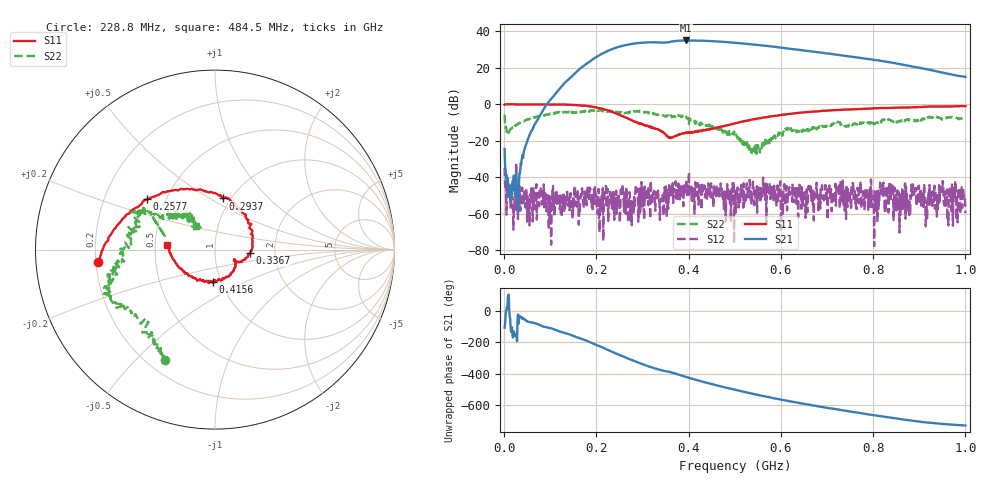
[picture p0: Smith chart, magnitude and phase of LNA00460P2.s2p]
! Created with skrf 1.9.0 (http://scikit-rf.org).
# Hz S RI R 50.0
!freq ReS11 ImS11 ReS21 ImS21 ReS12 ImS12 ReS22 ImS22
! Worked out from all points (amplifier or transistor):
!   1001 points, 1 MHz to 1 GHz, reference 50 ohm
!   highest |S21| = 35.0 dB at 394.6 MHz (marker M1)
!   |S21| within 3 dB of that: 255.7 MHz to 568.9 MHz (313.3 MHz wide, 76 % of centre)
!   unconditionally stable (mu >= 1): 8.733 MHz to 23.38 MHz; 229.8 MHz to 285.6 MHz; 297.8 MHz to end of sweep (the widest 3 of 40)
!   at 166.8 MHz: K = 0.59, MSG = 34.6 dB, |S12| = -49.1 dB
!   at 500.5 MHz: K = 2.25, MAG = 34.4 dB, |S12| = -47.7 dB
!   at 1 GHz: K = 13.23, MAG = 23.2 dB, |S12| = -59.7 dB
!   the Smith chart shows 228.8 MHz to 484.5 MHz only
!   S11 on the Smith chart (normalised r, x): 228.8 MHz: 0.21, -0.05; 257.7 MHz: 0.39, +0.28; 293.7 MHz: 0.92, +0.57; 336.7 MHz: 1.48, -0.06; 415.6 MHz: 0.91, -0.34; 484.5 MHz: 0.58, +0.03
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1000000  0.9814 -0.00074  -0.0173 -0.0571  -0.0167 0.00747  0.3908 0.3471
1.08892e8  0.526 -0.8462  -0.8393 -1.579  -0.000135 0.000806  0.414 -0.3763
1.67833e8  -0.2242 -0.9016  -10.26 -0.4889  0.0018 -0.00263  0.0234 -0.6352
2.03797e8  -0.6298 -0.4903  -16.23 13.98  -0.00108 -0.00181  -0.188 -0.6499
2.28772e8  -0.6531 -0.0705  -8.9 29.18  -0.000902 -0.00165  -0.2793 -0.613
2.57743e8  -0.3777 0.28  13.42 38.54  -0.002 0.0032  -0.3868 -0.3822
2.93707e8  0.0441 0.2851  42.27 23.44  0.00209 -0.00442  -0.5837 -0.2353
3.13687e8  0.1818 0.1636  49.83 6.485  0.00222 0.00302  -0.545 -0.1382
3.34666e8  0.2033 -0.00631  48.94 -10.67  -0.000364 0.00214  -0.515 -0.0248
3.36664e8  0.1938 -0.0198  48.56 -12.03  0.00109 0.00164  -0.528 -0.0187
3.68632e8  0.1124 -0.0664  43.97 -31.49  0.000351 0.00456  -0.4427 0.1593
3.94606e8  0.0767 -0.151  28.85 -48.63  -0.000116 0.00752  -0.3997 0.2337
4.15585e8  -0.0134 -0.1783  12.7 -54.82  -0.00243 0.00287  -0.2612 0.2173
4.46554e8  -0.1558 -0.1329  -10.95 -53.3  0.00278 -0.000943  -0.159 0.2112
4.84516e8  -0.2657 0.0271  -32.36 -39.31  0.00172 0.00197  -0.1077 0.1291
5.005e8  -0.2793 0.1112  -38.06 -31.01  -0.000759 0.00407  -0.0839 0.124
5.4046e8  -0.219 0.3181  -42.58 -9.788  0.006 -0.00164  -0.0611 0.0265
5.88412e8  -0.0377 0.4835  -36.02 10.61  0.00154 0.0017  -0.0956 -0.0671
6.67333e8  0.3345 0.5314  -14.46 23.96  -0.00223 -0.00343  -0.2158 -0.062
7.53247e8  0.6316 0.3645  3.468 19.92  -0.00507 -0.00289  -0.28 -0.0285
8.34166e8  0.7852 0.1404  10.24 10.01  -0.00191 0.00269  -0.3852 0.00924
1e9  0.8108 -0.3814  5.614 -0.6664  -0.000945 0.000413  -0.3002 0.3318
